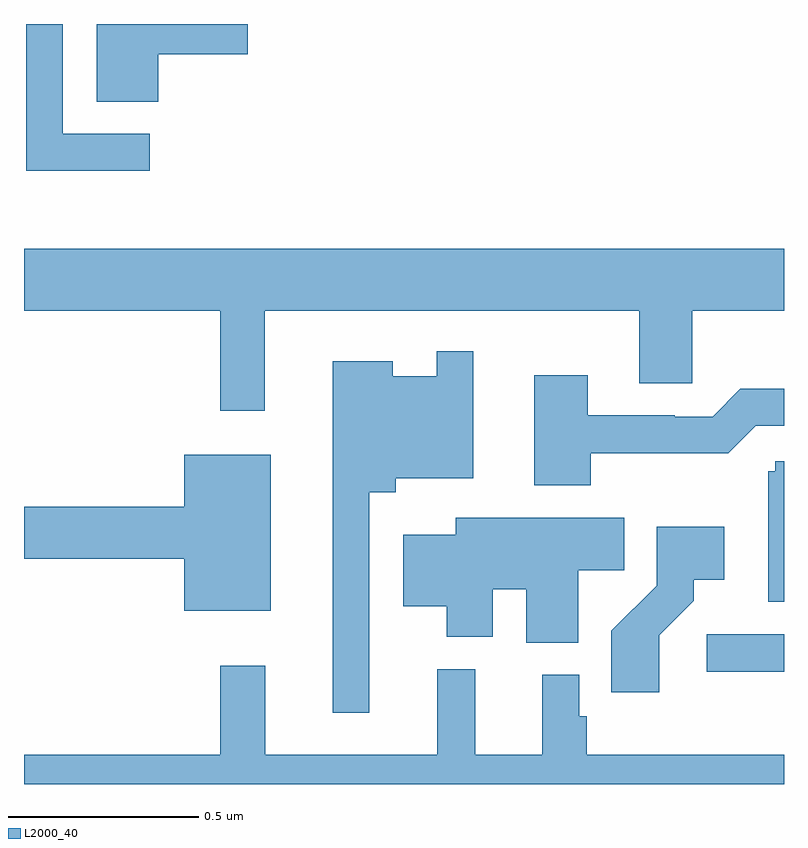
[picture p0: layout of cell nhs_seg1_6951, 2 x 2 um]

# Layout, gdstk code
import gdstk
lib = gdstk.Library(unit=1e-6, precision=1e-09)
def R(c, l, rs):  # rectangles x0, y0, x1, y1
    for r in rs: c.add(gdstk.rectangle(r[:2], r[2:], *l))
def P(c, l, *ps):  # polygons
    for p in ps: c.add(gdstk.Polygon(p, *l))
L2000_40 = (2000, 40)

nhs_seg1_6951 = lib.new_cell('nhs_seg1_6951')
R(nhs_seg1_6951, L2000_40, [(199.797,505.495,200,505.593)])
P(nhs_seg1_6951, L2000_40, [(198.353,507.119),(198.589,507.119),(198.589,507.199),(198.191,507.199),(198.191,506.995),(198.353,506.995)],
  [(198.331,506.91),(198.102,506.91),(198.102,507.199),(198.006,507.199),(198.006,506.813),(198.331,506.813)],
  [(198.634,506.444),(199.619,506.444),(199.619,506.254),(199.758,506.254),(199.758,506.444),(200,506.444),(200,506.608),(198,506.608),(198,506.444),(198.517,506.444),(198.517,506.181),(198.634,506.181)],
  [(198.909,505.967),(198.978,505.967),(198.978,506.003),(199.182,506.003),(199.182,506.338),(199.086,506.338),(199.086,506.272),(198.97,506.272),(198.97,506.311),(198.812,506.311),(198.812,505.386),(198.909,505.386)],
  [(199.491,506.07),(199.754,506.07),(199.754,506.069),(199.853,506.069),(199.926,506.142),(200,506.142),(200,506.239),(199.885,506.239),(199.812,506.166),(199.712,506.166),(199.712,506.169),(199.483,506.169),(199.483,506.275),(199.343,506.275),(199.343,505.985),(199.491,505.985)],
  [(198.649,506.065),(198.422,506.065),(198.422,505.928),(198,505.928),(198,505.792),(198.422,505.792),(198.422,505.655),(198.649,505.655)],
  [(200,506.049),(199.977,506.049),(199.977,506.022),(199.958,506.022),(199.958,505.678),(200,505.678)],
  [(199.459,505.762),(199.58,505.762),(199.58,505.9),(199.136,505.9),(199.136,505.855),(198.998,505.855),(198.998,505.667),(199.112,505.667),(199.112,505.586),(199.234,505.586),(199.234,505.712),(199.322,505.712),(199.322,505.571),(199.459,505.571)],
  [(199.672,505.591),(199.762,505.681),(199.762,505.736),(199.843,505.736),(199.843,505.876),(199.665,505.876),(199.665,505.721),(199.546,505.602),(199.546,505.44),(199.672,505.44)],
  [(200,505.276),(199.481,505.276),(199.481,505.377),(199.461,505.377),(199.461,505.486),(199.364,505.486),(199.364,505.276),(199.187,505.276),(199.187,505.501),(199.088,505.501),(199.088,505.276),(198.635,505.276),(198.635,505.51),(198.517,505.51),(198.517,505.276),(198,505.276),(198,505.199),(200,505.199)])

lib.write_gds('nhs_seg1_6951.gds')
